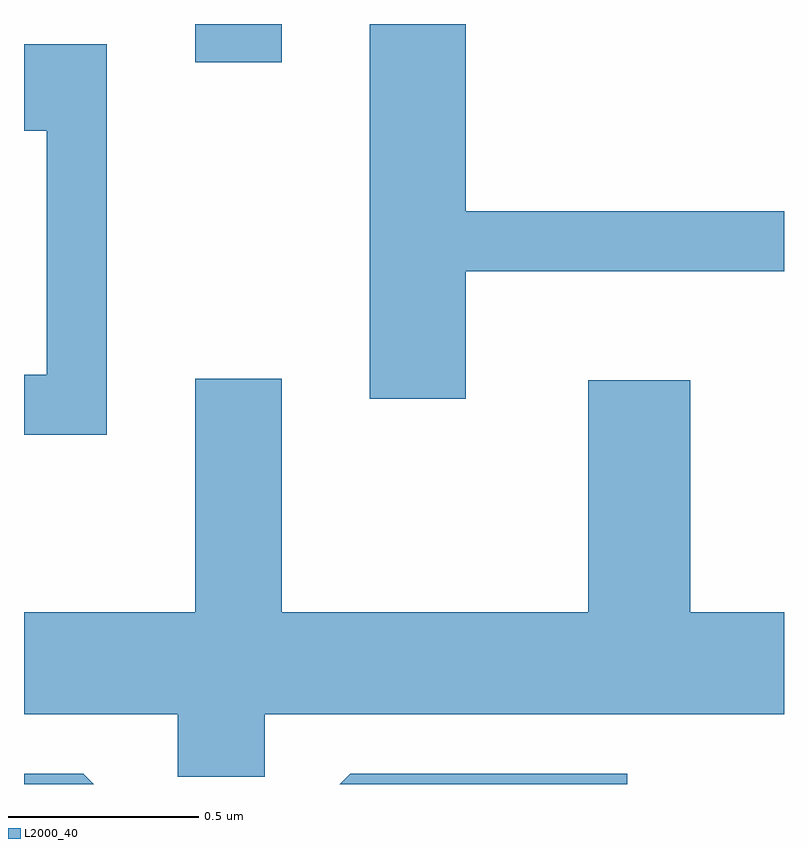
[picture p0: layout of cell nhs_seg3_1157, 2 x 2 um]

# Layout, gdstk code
import gdstk
lib = gdstk.Library(unit=1e-6, precision=1e-09)
def R(c, l, rs):  # rectangles x0, y0, x1, y1
    for r in rs: c.add(gdstk.rectangle(r[:2], r[2:], *l))
def P(c, l, *ps):  # polygons
    for p in ps: c.add(gdstk.Polygon(p, *l))
L2000_40 = (2000, 40)

nhs_seg3_1157 = lib.new_cell('nhs_seg3_1157')
R(nhs_seg3_1157, L2000_40, [(194.061,1178.791,194.289,1178.892)])
P(nhs_seg3_1157, L2000_40, [(194.774,1178.241),(195.611,1178.241),(195.611,1178.399),(194.774,1178.399),(194.774,1178.892),(194.521,1178.892),(194.521,1177.906),(194.774,1177.906)],
  [(193.829,1178.839),(193.611,1178.839),(193.611,1178.611),(193.671,1178.611),(193.671,1177.969),(193.611,1177.969),(193.611,1177.811),(193.829,1177.811)],
  [(194.244,1177.076),(195.611,1177.076),(195.611,1177.344),(195.364,1177.344),(195.364,1177.954),(195.096,1177.954),(195.096,1177.344),(194.289,1177.344),(194.289,1177.959),(194.061,1177.959),(194.061,1177.344),(193.611,1177.344),(193.611,1177.076),(194.016,1177.076),(194.016,1176.911),(194.244,1176.911)],
  [(195.199,1176.919),(194.469,1176.919),(194.442,1176.892),(195.199,1176.892)],
  [(193.767,1176.919),(193.611,1176.919),(193.611,1176.892),(193.794,1176.892)])

lib.write_gds('nhs_seg3_1157.gds')
